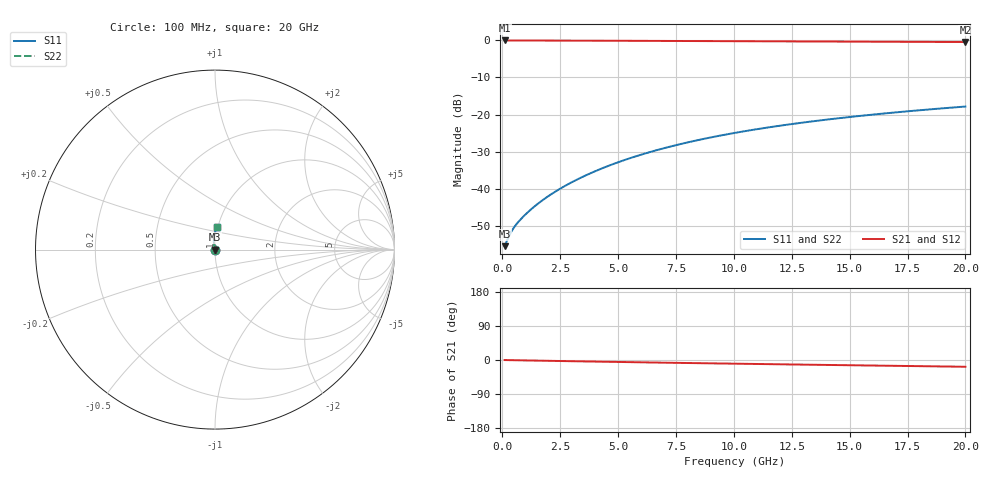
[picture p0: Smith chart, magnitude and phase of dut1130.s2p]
! Touchstone file exported from HFSS 2024.1.0
!  File:  C:/UserFiles/LocalFiles/RDL_TSV_Batchsim/temp_RDL_top_1130_1780047416.aedt
!  Generated:  05:38:56 PM May 29, 2026
!  Design:  RDL_top
!  Project:  temp_RDL_top_1130_1780047416
!  Setup:  Setup1
!  Solution:  Sweep
! Variables:
!  dtsv = 10.80580581um
!  hbump = 3um
!  htsv = 65.73um
!  ldown = 100um
!  lrdl = 280.96um
!  p = 40
!  p1 = 41.49um
!  rhole = 1um
!  t = 450um
!  tdown = 3.915915916um
!  trdl = 2.75um
!  wdown = 15.38538539um
!  wrdl = 29.33um
# GHz S MA R 50.000000
! Terminal data exported
! Port[1] = Box2_T1
! Port[2] = Box2_T2
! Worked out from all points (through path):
!   200 points, 100 MHz to 20 GHz, reference 50 ohm
!   highest |S21| = -0.01 dB at 100 MHz (marker M1); lowest = -0.4 dB at 20 GHz (marker M2)
!   group delay of S21, straight-line fit = 2.43 ps
!   lowest |S11| = -55.5 dB at 100 MHz (marker M3), VSWR 1.00, Z = 50.2 + j0.0553 ohm
!   |S11| at or under -10 dB: start of sweep to end of sweep
!   |S22| runs from -55.5 to -17.8 dB; largest |S21 - S12| = 2.1e-15
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0.1  0.001673 19.2  0.9984 -0.1  0.9984 -0.1  0.001673 19.2
! Gamma 0 0 0 0
! Port Impedance 50 0 50 0
0.3  0.002327 40.0  0.9982 -0.3  0.9982 -0.3  0.002327 40.0
0.4  0.002663 45.3  0.998 -0.5  0.998 -0.5  0.002663 45.3
0.5  0.002978 49.4  0.9979 -0.6  0.9979 -0.6  0.002978 49.4
0.6  0.00328 52.9  0.9978 -0.7  0.9978 -0.7  0.00328 52.9
0.8  0.003873 59.0  0.9975 -0.9  0.9975 -0.9  0.003873 59.1
1.2  0.005115 68.7  0.9971 -1.3  0.9971 -1.3  0.005115 68.7
1.7  0.006838 77.3  0.9964 -1.8  0.9964 -1.8  0.006838 77.3
2.2  0.008752 83.4  0.9956 -2.4  0.9956 -2.4  0.008752 83.4
2.8  0.01129 88.6  0.9945 -3.0  0.9945 -3.0  0.01129 88.6
3.5  0.01457 92.7  0.9929 -3.7  0.9929 -3.7  0.01457 92.7
4.2  0.01818 95.4  0.991 -4.4  0.991 -4.4  0.01818 95.4
5  0.02267 97.3  0.9888 -5.2  0.9888 -5.2  0.02267 97.3
5.9  0.02812 98.4  0.9861 -6.1  0.9861 -6.1  0.02812 98.4
6.8  0.03391 98.7  0.9834 -6.9  0.9834 -6.9  0.03392 98.7
8.4  0.04481 98.1  0.9785 -8.3  0.9785 -8.3  0.04482 98.1
10.1  0.05691 96.5  0.9737 -9.8  0.9737 -9.8  0.05693 96.5
11.7  0.06852 94.6  0.9694 -11.1  0.9694 -11.1  0.06854 94.6
13.4  0.08092 92.5  0.9652 -12.5  0.9652 -12.5  0.08094 92.5
15  0.09254 90.4  0.9616 -13.8  0.9616 -13.8  0.09257 90.5
16.7  0.1048 88.3  0.9579 -15.2  0.9579 -15.2  0.1048 88.3
20  0.1281 84.3  0.9513 -17.8  0.9513 -17.8  0.1281 84.3
